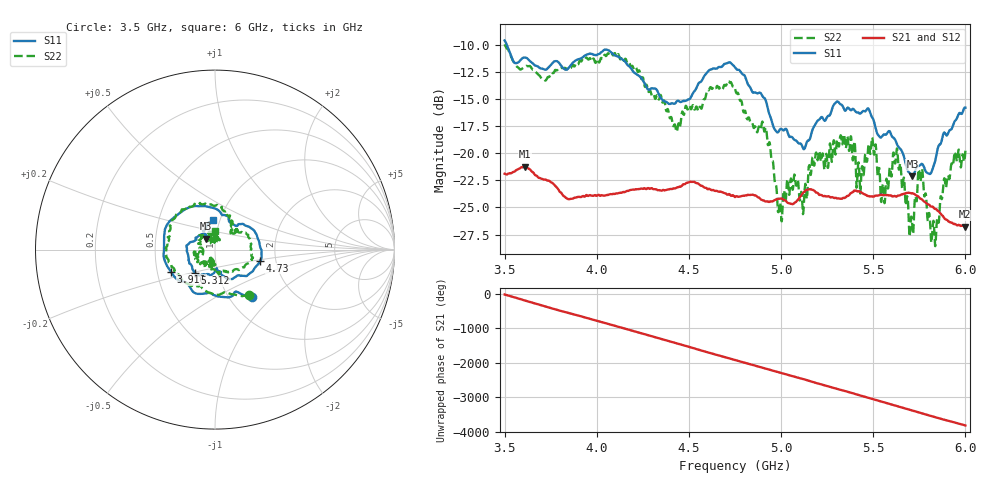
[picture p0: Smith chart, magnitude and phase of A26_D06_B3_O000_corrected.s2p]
! Created with skrf 1.9.0 (http://scikit-rf.org).
# Hz S RI R 50.0
!freq ReS11 ImS11 ReS21 ImS21 ReS12 ImS12 ReS22 ImS22
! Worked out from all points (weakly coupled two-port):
!   1601 points, 3.5 GHz to 6 GHz, reference 50 ohm
!   highest |S21| = -21.24 dB at 3.609 GHz (marker M1); lowest = -26.8 dB at 5.997 GHz (marker M2)
!   lowest |S11| = -22.1 dB at 5.713 GHz (marker M3), VSWR 1.17, Z = 45 + j5.47 ohm
!   |S11| at or under -10 dB: 3.512 GHz to end of sweep
!   |S22| runs from -28.6 to -9.9 dB; largest |S21 - S12| = 0.00099
!   S11 on the Smith chart (normalised r, x): 3.5 GHz: 1.27, -0.75; 3.916 GHz: 0.59, -0.16; 4.73 GHz: 1.66, -0.22; 5.312 GHz: 0.78, -0.21; 6 GHz: 0.93, +0.31
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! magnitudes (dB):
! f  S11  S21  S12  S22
! 3.5 GHz  -9.6  -21.9  -21.9  -9.9
! 3.609 GHz  -11.2  -21.2  -21.2  -12.0
! 3.916 GHz  -11.2  -24.0  -24.0  -11.5
! 3.917 GHz  -11.2  -24.0  -24.0  -11.5
! 4.334 GHz  -14.5  -23.4  -23.3  -15.0
! 4.439 GHz  -15.1  -23.1  -23.1  -17.6
! 4.73 GHz  -11.7  -23.9  -23.8  -13.5
! 4.75 GHz  -12.1  -24.0  -23.9  -14.0
! 4.909 GHz  -14.9  -24.4  -24.3  -18.0
! 4.994 GHz  -17.8  -24.2  -24.1  -24.6
! 5.167 GHz  -18.0  -23.4  -23.3  -20.8
! 5.312 GHz  -15.3  -24.2  -24.1  -19.4
! 5.42 GHz  -16.2  -23.5  -23.5  -20.8
! 5.486 GHz  -16.4  -24.0  -23.9  -19.9
! 5.584 GHz  -17.9  -23.9  -23.8  -22.5
! 5.636 GHz  -19.4  -23.9  -23.9  -21.0
! 5.713 GHz  -22.1  -23.7  -23.6  -26.8
! 5.756 GHz  -21.1  -24.2  -24.1  -22.6
! 5.828 GHz  -21.1  -25.0  -25.0  -26.4
! 5.934 GHz  -17.4  -26.5  -26.5  -20.9
! 5.997 GHz  -15.8  -26.8  -26.7  -20.4
! 6 GHz  -15.8  -26.7  -26.7  -19.8
